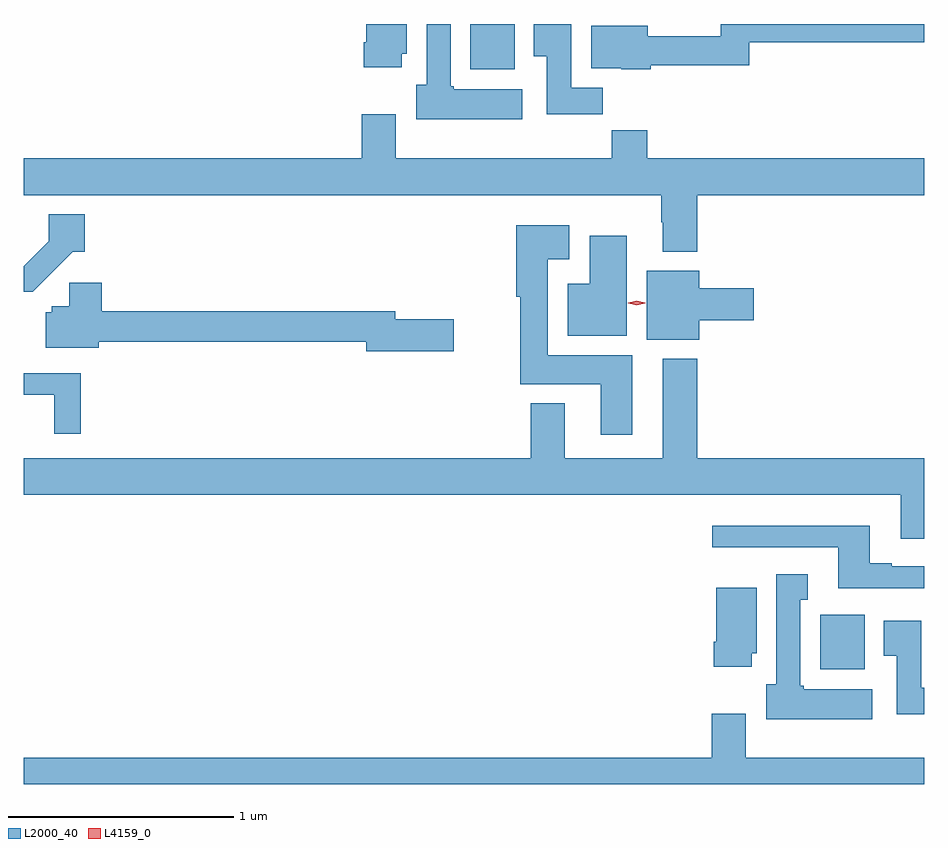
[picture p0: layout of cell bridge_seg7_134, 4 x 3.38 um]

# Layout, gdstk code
import gdstk
lib = gdstk.Library(unit=1e-6, precision=1e-09)
def R(c, l, rs):  # rectangles x0, y0, x1, y1
    for r in rs: c.add(gdstk.rectangle(r[:2], r[2:], *l))
def P(c, l, *ps):  # polygons
    for p in ps: c.add(gdstk.Polygon(p, *l))
L2000_40 = (2000, 40)
L4159_0 = (4159, 0)

bridge_seg7_134 = lib.new_cell('bridge_seg7_134')
R(bridge_seg7_134, L2000_40, [(739.232,998.51,739.429,998.752), (737.678,1001.174,737.875,1001.376)])
P(bridge_seg7_134, L2000_40, [(737.374,1001.244),(737.395,1001.244),(737.395,1001.376),(737.216,1001.376),(737.216,1001.296),(737.204,1001.296),(737.204,1001.184),(737.374,1001.184)],
  [(737.908,1001.086),(737.604,1001.086),(737.604,1001.1),(737.59,1001.1),(737.59,1001.376),(737.483,1001.376),(737.483,1001.106),(737.438,1001.106),(737.438,1000.952),(737.908,1000.952)],
  [(738.266,1001.092),(738.127,1001.092),(738.127,1001.376),(737.96,1001.376),(737.96,1001.233),(738.017,1001.233),(738.017,1000.974),(738.266,1000.974)],
  [(738.479,1001.193),(738.917,1001.193),(738.917,1001.296),(739.694,1001.296),(739.694,1001.376),(738.789,1001.376),(738.789,1001.321),(738.466,1001.321),(738.466,1001.368),(738.215,1001.368),(738.215,1001.18),(738.348,1001.18),(738.348,1001.174),(738.479,1001.174)],
  [(738.686,1000.616),(739.694,1000.616),(739.694,1000.78),(738.464,1000.78),(738.464,1000.904),(738.307,1000.904),(738.307,1000.78),(737.347,1000.78),(737.347,1000.975),(737.195,1000.975),(737.195,1000.78),(735.694,1000.78),(735.694,1000.616),(738.526,1000.616),(738.526,1000.496),(738.533,1000.496),(738.533,1000.364),(738.686,1000.364)],
  [(735.911,1000.364),(735.965,1000.364),(735.965,1000.531),(735.804,1000.531),(735.804,1000.41),(735.694,1000.3),(735.694,1000.187),(735.733,1000.187)],
  [(738.397,999.904),(738.022,999.904),(738.022,1000.331),(738.118,1000.331),(738.118,1000.483),(737.882,1000.483),(737.882,1000.165),(737.9,1000.165),(737.9,999.776),(738.257,999.776),(738.257,999.552),(738.397,999.552)],
  [(738.373,1000.435),(738.209,1000.435),(738.209,1000.222),(738.11,1000.222),(738.11,999.992),(738.373,999.992)],
  [(738.694,1000.061),(738.937,1000.061),(738.937,1000.203),(738.694,1000.203),(738.694,1000.279),(738.461,1000.279),(738.461,999.974),(738.694,999.974)],
  [(737.605,1000.064),(737.344,1000.064),(737.344,1000.1),(736.04,1000.1),(736.04,1000.227),(735.895,1000.227),(735.895,1000.122),(735.819,1000.122),(735.819,1000.095),(735.791,1000.095),(735.791,999.938),(736.027,999.938),(736.027,999.964),(737.216,999.964),(737.216,999.922),(737.605,999.922)],
  [(739.694,999.448),(738.686,999.448),(738.686,999.889),(738.533,999.889),(738.533,999.448),(738.097,999.448),(738.097,999.691),(737.945,999.691),(737.945,999.448),(735.694,999.448),(735.694,999.284),(739.589,999.284),(739.589,999.09),(739.694,999.09)],
  [(735.947,999.825),(735.694,999.825),(735.694,999.729),(735.83,999.729),(735.83,999.555),(735.947,999.555)],
  [(739.694,998.967),(739.549,998.967),(739.549,998.98),(739.453,998.98),(739.453,999.148),(738.753,999.148),(738.753,999.051),(739.313,999.051),(739.313,998.87),(739.694,998.87)],
  [(739.462,998.422),(739.158,998.422),(739.158,998.436),(739.144,998.436),(739.144,998.819),(739.177,998.819),(739.177,998.932),(739.037,998.932),(739.037,998.442),(738.992,998.442),(738.992,998.288),(739.462,998.288)],
  [(738.928,998.58),(738.949,998.58),(738.949,998.872),(738.77,998.872),(738.77,998.632),(738.758,998.632),(738.758,998.52),(738.928,998.52)],
  [(739.694,998.428),(739.681,998.428),(739.681,998.725),(739.514,998.725),(739.514,998.569),(739.571,998.569),(739.571,998.31),(739.694,998.31)],
  [(739.694,998.116),(738.901,998.116),(738.901,998.311),(738.749,998.311),(738.749,998.116),(735.694,998.116),(735.694,998),(739.694,998)])
P(bridge_seg7_134, L4159_0, [(738.416,1000.127),(738.379,1000.136),(738.379,1000.137),(738.379,1000.137),(738.416,1000.147),(738.454,1000.137),(738.454,1000.137),(738.454,1000.136)])

lib.write_gds('bridge_seg7_134.gds')
